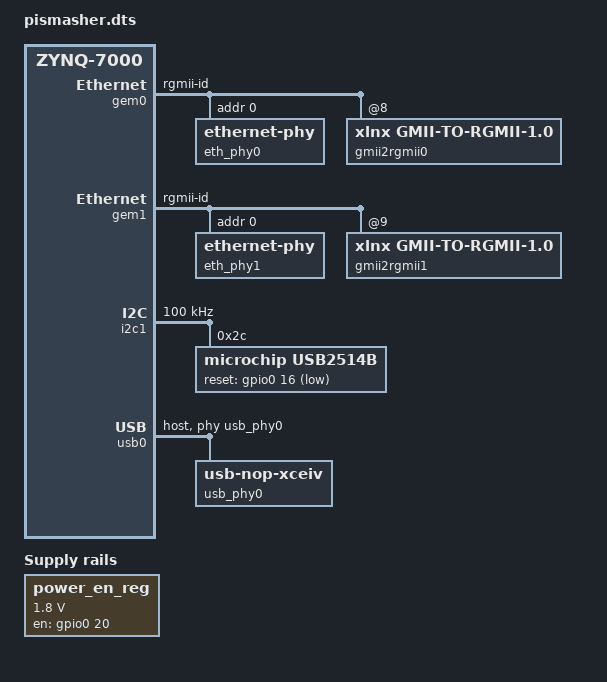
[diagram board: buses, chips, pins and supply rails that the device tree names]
/**
 * Copyright (c) 2018 krtkl inc.
 *
 * snickerdoodle Black piSmasher Device Tree Source
 *
 * This program is free software; you can redistribute it and/or modify it
 * under the terms of the GNU General Public License version 2 as published by
 * the Free Software Foundation.
 */

/dts-v1/;
/plugin/;

/ {
	compatible = "krtkl,snickerdoodle", "xlnx,zynq-7000";

	fragment@0 {
		target = <&fpga_full>;
		#address-cells = <1>;
		#size-cells = <1>;

		__overlay__ {
			#address-cells = <1>;
			#size-cells = <1>;
			firmware-name = "pismasher_loop_through.bit.bin";
		};
	};

	fragment@1 {
		target = <&gem0>;
		#address-cells = <1>;
		#size-cells = <0>;

		__overlay__ {
			status = "okay";
			phy-mode = "rgmii-id";
			#address-cells = <1>;
			#size-cells = <0>;
			phy-reset-gpio = <&gpio0 19 1>;

			eth_phy0: ethernet-phy@0 {
				reg = <0>;
				device_type = "ethernet-phy";
			};

			gmii2rgmii0: gmiitorgmii@8 {
				compatible = "xlnx,gmii-to-rgmii-1.0";
				reg = <8>;
				phy-handle = <&eth_phy0>;
			};
		};
	};

	fragment@2 {
		target = <&gem1>;
		#address-cells = <1>;
		#size-cells = <0>;

		__overlay__ {
			status = "okay";
			phy-mode = "rgmii-id";
			#address-cells = <1>;
			#size-cells = <0>;
			phy-reset-gpio = <&gpio0 17 1>;

			eth_phy1: ethernet-phy@1 {
				reg = <0>;
				device_type = "ethernet-phy";
			};

			gmii2rgmii1: gmiitorgmii@9 {
				compatible = "xlnx,gmii-to-rgmii-1.0";
				reg = <9>;
				phy-handle = <&eth_phy1>;
			};
		};
	};

	fragment@3 {
		target = <&i2c1>;

		__overlay__ {
			status = "okay";
			clock-frequency = <100000>;
			#address-cells = <1>;
			#size-cells = <0>;

			usb2514b@2c {
				compatible = "microchip,usb2514b";
				reg = <0x2c>;
				reset-gpios = <&gpio0 16 1>;
			};
		};
	};

	fragment@4 {
		target = <&usb0>;

		__overlay__ {
			status = "okay";
			dr_mode = "host";
			usb-phy = <&usb_phy0>;

			usb_phy0: usb-phy0 {
				compatible = "usb-nop-xceiv";
				#phy-cells = <0>;
				view-port = <0x170>;
				drv-vbus;
			};
		};
	};

	fragment@5 {
		target-path = "/";

		__overlay__ {
			power_en_reg: fixed-regulator-powen {
				compatible = "regulator-fixed";
				regulator-name = "power-en-regulator";
				gpio = <&gpio0 20 0>;
				regulator-min-microvolt = <1800000>;
				regulator-max-microvolt = <1800000>;
				regulator-always-on;
				enable-active-high;
			};
		};
	};

	fragment@6 {
		target-path = "\__symbols__";
	
		__overlay__ {
			power_en_reg = &power_en_reg;
			eth_phy0 = &eth_phy0;
			gmii2rgmii0 = &gmii2rgmii0;
			eth_phy1 = &eth_phy1;
			gmii2rgmii1 = &gmii2rgmii1;
			usb_phy0 = &usb_phy0;
		};
	};
};
